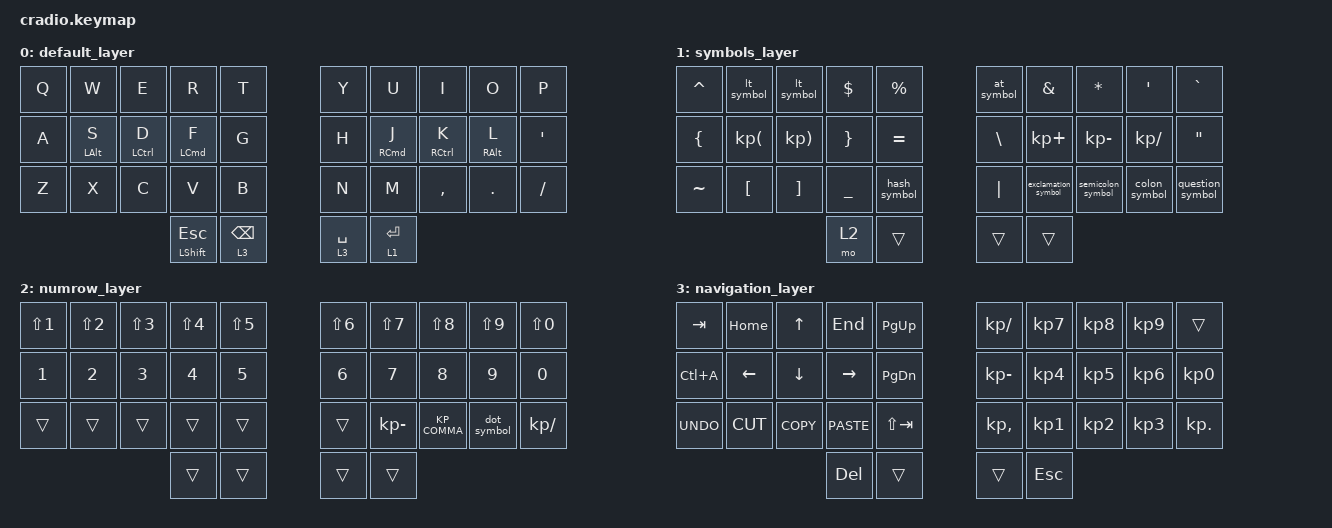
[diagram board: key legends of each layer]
// Copyright (c) 2022 The ZMK Contributors
// SPDX-License-Identifier: MIT

#include <behaviors.dtsi>
#include <dt-bindings/zmk/keys.h>
#include <dt-bindings/zmk/bt.h>

/ {
    behaviors {
        htl: hold_tap_left {
            compatible = "zmk,behavior-hold-tap";
            #binding-cells = <2>;
            flavor = "balanced";
            tapping-term-ms = <300>;
            quick-tap-ms = <175>;
            require-prior-idle-ms = <150>;
            hold-trigger-key-positions = <5 6 7 8 9 15 16 17 18 19 25 26 27 28 29>;
            hold-trigger-on-release;
            bindings = <&kp>, <&kp>;
        };

        htr: hold_tap_right {
            compatible = "zmk,behavior-hold-tap";
            #binding-cells = <2>;
            flavor = "balanced";
            tapping-term-ms = <300>;
            quick-tap-ms = <175>;
            require-prior-idle-ms = <150>;
            hold-trigger-key-positions = <0 1 2 3 4 10 11 12 13 14 20 21 22 23 24>;
            hold-trigger-on-release;
            bindings = <&kp>, <&kp>;
        };
    };

    macros {
        at_symbol: at_symbol {
            compatible = "zmk,behavior-macro";
            #binding-cells = <0>;
            bindings = <&kp LA(KP_N0) &kp KP_N0 &kp KP_N6 &kp KP_N4>;
        };
        lt_symbol: lt_symbol {
            compatible = "zmk,behavior-macro";
            #binding-cells = <0>;
            bindings = <&kp LC(LS(U)) &kp N0 &kp N0 &kp N3 &kp C &kp ENTER>;
        };
        gt_symbol: gt_symbol {
            compatible = "zmk,behavior-macro";
            #binding-cells = <0>;
            bindings = <&kp LC(LS(U)) &kp N0 &kp N0 &kp N3 &kp E &kp ENTER>;
        };
        hash_symbol: hash_symbol {
            compatible = "zmk,behavior-macro";
            #binding-cells = <0>;
            bindings = <&kp LC(LS(U)) &kp N0 &kp N0 &kp N2 &kp N3 &kp ENTER>;
        };
        exclamation_symbol: exclamation_symbol {
            compatible = "zmk,behavior-macro";
            #binding-cells = <0>;
            bindings = <&kp LC(LS(U)) &kp N0 &kp N0 &kp N2 &kp N1 &kp ENTER>;
        };
        semicolon_symbol: semicolon_symbol {
            compatible = "zmk,behavior-macro";
            #binding-cells = <0>;
            bindings = <&kp LC(LS(U)) &kp N0 &kp N0 &kp N3 &kp B &kp ENTER>;
        };
        colon_symbol: colon_symbol {
            compatible = "zmk,behavior-macro";
            #binding-cells = <0>;
            bindings = <&kp LC(LS(U)) &kp N0 &kp N0 &kp N3 &kp A &kp ENTER>;
        };
        question_symbol: question_symbol {
            compatible = "zmk,behavior-macro";
            #binding-cells = <0>;
            bindings = <&kp LC(LS(U)) &kp N0 &kp N0 &kp N3 &kp F &kp ENTER>;
        };
        dot_symbol: dot_symbol {
            compatible = "zmk,behavior-macro";
            #binding-cells = <0>;
            bindings = <&kp LALT &kp KP_N0 &kp KP_N0 &kp KP_N4 &kp KP_N6>;
        };
    };

    keymap {
        compatible = "zmk,keymap";
        default_layer {
            bindings = <
        //╭──────────┬──────────┬──────────┬──────────┬──────────╮   ╭──────────┬──────────┬──────────┬──────────┬──────────╮
        //│  Q       │  W       │  E       │  R       │  T       │   │  Y       │  U       │  I       │  O       │  P       │
            &kp Q      &kp W      &kp E      &kp R      &kp T          &kp Y      &kp U      &kp I      &kp O      &kp P
        //├──────────┼──────────┼──────────┼──────────┼──────────┤   ├──────────┼──────────┼──────────┼──────────┼──────────┤
        //│  A       │  S       │  D       │  F       │  G       │   │  H       │  J       │  K       │  L       │ ' "      │
            &kp A   &htl LALT S &htl LCTRL D &htl LCMD F &kp G          &kp H  &htr RCMD J &htr RCTRL K &htr RALT L  &kp SQT
        //├──────────┼──────────┼──────────┼──────────┼──────────┤   ├──────────┼──────────┼──────────┼──────────┼──────────┤
        //│  Z       │  X       │  C       │  V       │  B       │   │  N       │  M       │ , <      │ . >      │ / ?      │
            &kp Z      &kp X      &kp C      &kp V      &kp B          &kp N      &kp M      &kp COMMA  &kp DOT    &kp FSLH
        //╰──────────┴──────────┴──────────┼──────────┼──────────┤   ├──────────┼──────────┼──────────┴──────────┴──────────╯
        //                                 │          │          │   │          │          │
                                        &mt LSHFT ESC  &lt 3 BSPC     &lt 3 SPACE &lt 1 RETURN
        //                                 ╰──────────┴──────────╯   ╰──────────┴──────────╯
            >;
        };

        symbols_layer {
            bindings = <
        //╭──────────┬──────────┬──────────┬──────────┬──────────╮   ╭──────────┬──────────┬──────────┬──────────┬──────────╮
        //│ ^        │  <       │  >       │  $       │ %        │   │ @        │ &        │ *        │ '        │ `        │
           &kp CARET  &lt_symbol &lt_symbol &kp DLLR   &kp PERCENT    &at_symbol &kp AMPS   &kp STAR   &kp SQT    &kp GRAVE
        //├──────────┼──────────┼──────────┼──────────┼──────────┤   ├──────────┼──────────┼──────────┼──────────┼──────────┤
        //│ {        │  (       │  )       │  }       │ =        │   │ \        │ +        │ -        │ /        │ "        │
           &kp LBRC &kp KP_LPAR &kp KP_RPAR &kp RBRC   &kp EQUAL      &kp BSLH &kp KP_PLUS &kp KP_MINUS &kp KP_SLASH  &kp DQT
        //├──────────┼──────────┼──────────┼──────────┼──────────┤   ├──────────┼──────────┼──────────┼──────────┼──────────┤
        //│ ~        │  [       │  ]       │  _       │  #       │   │ |        │ !        │ ;        │ :        │ ?        │
           &kp TILDE  &kp LBKT   &kp RBKT   &kp UNDER  &hash_symbol   &kp PIPE &exclamation_symbol &semicolon_symbol &colon_symbol  &question_symbol
        //╰──────────┴──────────┴──────────┼──────────┼──────────┤   ├──────────┼──────────┼──────────┴──────────┴──────────╯
        //                                 │          │          │   │          │          │
                                             &mo 2      &trans         &trans     &trans
        //                                 ╰──────────┴──────────╯   ╰──────────┴──────────╯
            >;
        };

        numrow_layer {
            bindings = <
        //╭──────────┬──────────┬──────────┬──────────┬──────────╮   ╭──────────┬──────────┬──────────┬──────────┬──────────╮
        //│  !       │  @       │  #       │  $       │  %       │   │  ^       │  &       │  *       │  (       │  )       │
           &kp LS(1)  &kp LS(2)  &kp LS(3)  &kp LS(4)  &kp LS(5)      &kp LS(6)  &kp LS(7)  &kp LS(8)  &kp LS(9)   &kp LS(0)
        //├──────────┼──────────┼──────────┼──────────┼──────────┤   ├──────────┼──────────┼──────────┼──────────┼──────────┤
        //│  1       │  2       │  3       │  4       │  5       │   │  6       │  7       │  8       │  9       │  0       │
            &kp N1    &kp N2      &kp N3     &kp N4    &kp N5          &kp N6     &kp N7     &kp N8     &kp N9     &kp N0
        //├──────────┼──────────┼──────────┼──────────┼──────────┤   ├──────────┼──────────┼──────────┼──────────┼──────────┤
        //│          │          │          │          │          │   │          │  -       │  ,       │  .       │  /       │
            &trans     &trans     &trans     &trans     &trans         &trans   &kp KP_MINUS &KP_COMMA &dot_symbol &kp KP_SLASH
        //╰──────────┴──────────┴──────────┼──────────┼──────────┤   ├──────────┼──────────┼──────────┴──────────┴──────────╯
        //                                 │          │          │   │          │          │
                                             &trans     &trans         &trans     &trans
        //                                 ╰──────────┴──────────╯   ╰──────────┴──────────╯
            >;
        };

        navigation_layer {
            bindings = <
        //╭──────────┬──────────┬──────────┬──────────┬──────────╮   ╭──────────┬──────────┬──────────┬──────────┬──────────╮
        //│ TAB      │ HOME     │ UP       │ END      │ PAGE UP  │   │ /        │ 7        │ 8        │ 9        │          │
            &kp TAB    &kp HOME   &kp UP     &kp END    &kp PG_UP    &kp KP_SLASH &kp KP_N7  &kp KP_N8  &kp KP_N9  &trans
        //├──────────┼──────────┼──────────┼──────────┼──────────┤   ├──────────┼──────────┼──────────┼──────────┼──────────┤
        //│SELECT ALL│ LEFT     │ DOWN     │ RIGHT    │ PAGE DOWN│   │ -        │ 4        │ 5        │ 6        │ 0        │
            &kp LC(A) &kp LEFT   &kp DOWN   &kp RIGHT  &kp PG_DN    &kp KP_MINUS &kp KP_N4  &kp KP_N5  &kp KP_N6  &kp KP_N0
        //├──────────┼──────────┼──────────┼──────────┼──────────┤   ├──────────┼──────────┼──────────┼──────────┼──────────┤
        //│ UNDO     │ CUT      │ COPY     │ PASTE    │ SHIFT TAB│   │ ,        │ 1        │ 2        │ 3        │ .        │
           &kp K_UNDO &kp K_CUT  &kp K_COPY &kp K_PASTE &kp LS(TAB)   &kp KP_COMMA &kp KP_N1  &kp KP_N2  &kp KP_N3  &kp KP_DOT
        //╰──────────┴──────────┴──────────┼──────────┼──────────┤   ├──────────┼──────────┼──────────┴──────────┴──────────╯
        //                                 │ DEL      │          │   │          │ ESC      │
                                             &kp DEL    &trans         &trans     &kp ESC
        //                                 ╰──────────┴──────────╯   ╰──────────┴──────────╯
            >;
        };
    };
};
